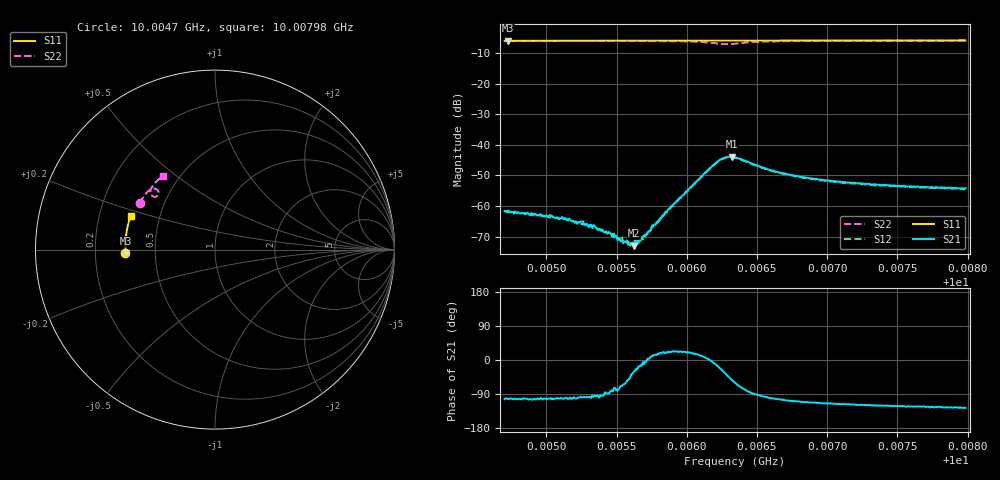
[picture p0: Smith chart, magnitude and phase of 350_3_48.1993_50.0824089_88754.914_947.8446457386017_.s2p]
#  HZ  S  RI  R  50.00
! Rohde & Schwarz Vector Network Analyzer
! Rohde-Schwarz,ZNB20-2Port,1311601062101988,3.16
! Created: UTC 3/20/2024, 11:51:46 AM
! freq[Hz]  re:S11  im:S11  re:S21  im:S21  re:S12  im:S12  re:S22  im:S22
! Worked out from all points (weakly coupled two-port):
!   401 points, 10.0047 GHz to 10.00798 GHz, reference 50 ohm
!   highest |S21| = -43.88 dB at 10.00632 GHz (marker M1); lowest = -73.0 dB at 10.00562 GHz (marker M2)
!   lowest |S11| = -6.0 dB at 10.00473 GHz (marker M3), VSWR 2.99, Z = 16.7 - j0.88 ohm
!   |S11| at or under -10 dB: nowhere
!   |S22| runs from -7.1 to -6.0 dB; largest |S21 - S12| = 0.00038
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1.0004703e10  -0.4987 -0.0212  -0.000189 -0.000806  -0.000132 -0.000792  -0.4194 0.2602
1.0004728e10  -0.4986 -0.0198  -0.000195 -0.00082  -0.00013 -0.000778  -0.4185 0.2616
1.000513e10  -0.4998 0.00637  -0.000125 -0.000623  -9.28e-05 -0.000611  -0.4043 0.2854
1.0005212e10  -0.5 0.0116  -0.000111 -0.00055  -6.32e-05 -0.000547  -0.4009 0.2904
1.0005253e10  -0.4999 0.0144  -8.62e-05 -0.000554  -6.81e-05 -0.000502  -0.3994 0.2928
1.0005335e10  -0.5 0.0197  -6.5e-05 -0.000487  -3.93e-05 -0.000435  -0.396 0.2975
1.0005474e10  -0.4998 0.0287  4.38e-05 -0.000348  4.63e-05 -0.000316  -0.3896 0.3061
1.0005548e10  -0.4996 0.0334  0.000115 -0.000244  0.00012 -0.000215  -0.386 0.3105
1.0005605e10  -0.4995 0.0373  0.000186 -0.000145  0.000196 -0.000152  -0.383 0.3141
1.0005622e10  -0.4994 0.0381  0.000192 -0.000116  0.000197 -0.000102  -0.3821 0.3151
1.0005655e10  -0.4993 0.0404  0.000233 -7.6e-05  0.000233 -0.0001  -0.3804 0.3171
1.0005704e10  -0.4993 0.0435  0.000317 -2.19e-05  0.000343 -8.13e-06  -0.3775 0.3201
1.0005802e10  -0.4988 0.0499  0.000567 0.000161  0.000529 0.000205  -0.371 0.3263
1.0005942e10  -0.4978 0.0589  0.0012 0.000456  0.00117 0.000512  -0.3589 0.335
1.0006196e10  -0.496 0.0752  0.00479 -0.000745  0.00471 -0.000486  -0.3173 0.3278
1.0006262e10  -0.4953 0.0792  0.00522 -0.00311  0.00527 -0.00281  -0.3157 0.3074
1.0006319e10  -0.495 0.0827  0.00391 -0.00507  0.00413 -0.00475  -0.33 0.295
1.0006344e10  -0.4947 0.0841  0.00308 -0.00543  0.0033 -0.00522  -0.3377 0.2942
1.0006639e10  -0.4922 0.103  -0.00082 -0.00352  -0.000641 -0.00352  -0.3577 0.3348
1.0006893e10  -0.4891 0.1192  -0.00105 -0.0026  -0.000946 -0.0026  -0.3464 0.3559
1.0007442e10  -0.4807 0.1535  -0.00112 -0.00186  -0.000995 -0.00188  -0.3191 0.3868
1.0007984e10  -0.4699 0.1867  -0.00116 -0.00159  -0.00105 -0.00159  -0.2917 0.4109
